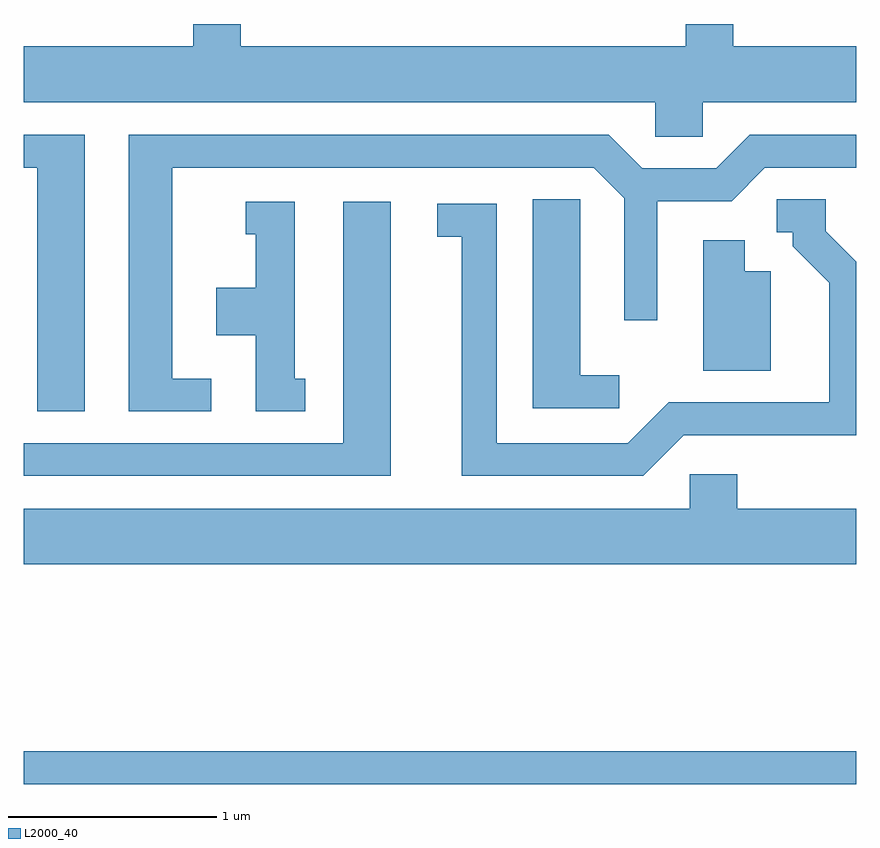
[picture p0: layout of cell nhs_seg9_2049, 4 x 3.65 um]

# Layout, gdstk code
import gdstk
lib = gdstk.Library(unit=1e-6, precision=1e-09)
def R(c, l, rs):  # rectangles x0, y0, x1, y1
    for r in rs: c.add(gdstk.rectangle(r[:2], r[2:], *l))
def P(c, l, *ps):  # polygons
    for p in ps: c.add(gdstk.Polygon(p, *l))
L2000_40 = (2000, 40)

nhs_seg9_2049 = lib.new_cell('nhs_seg9_2049')
R(nhs_seg9_2049, L2000_40, [(245.611,1970.781,249.611,1970.939)])
P(nhs_seg9_2049, L2000_40, [(248.874,1974.056),(249.611,1974.056),(249.611,1974.324),(249.019,1974.324),(249.019,1974.432),(248.791,1974.432),(248.791,1974.324),(246.654,1974.324),(246.654,1974.432),(246.426,1974.432),(246.426,1974.324),(245.611,1974.324),(245.611,1974.056),(248.646,1974.056),(248.646,1973.891),(248.874,1973.891)],
  [(246.513,1972.729),(246.324,1972.729),(246.324,1973.741),(248.349,1973.741),(248.496,1973.594),(248.496,1973.008),(248.654,1973.008),(248.654,1973.581),(249.012,1973.581),(249.172,1973.741),(249.611,1973.741),(249.611,1973.899),(249.099,1973.899),(248.939,1973.739),(248.582,1973.739),(248.422,1973.899),(246.116,1973.899),(246.116,1972.571),(246.513,1972.571)],
  [(245.904,1973.899),(245.611,1973.899),(245.611,1973.741),(245.676,1973.741),(245.676,1972.571),(245.904,1972.571)],
  [(248.473,1972.744),(248.284,1972.744),(248.284,1973.589),(248.056,1973.589),(248.056,1972.586),(248.473,1972.586)],
  [(248.782,1972.456),(249.611,1972.456),(249.611,1973.29),(249.464,1973.437),(249.464,1973.589),(249.228,1973.589),(249.228,1973.431),(249.306,1973.431),(249.306,1973.364),(249.481,1973.189),(249.481,1972.614),(248.709,1972.614),(248.514,1972.419),(247.884,1972.419),(247.884,1973.569),(247.598,1973.569),(247.598,1973.411),(247.716,1973.411),(247.716,1972.261),(248.587,1972.261)],
  [(246.963,1972.729),(246.914,1972.729),(246.914,1973.579),(246.678,1973.579),(246.678,1973.421),(246.726,1973.421),(246.726,1973.164),(246.536,1973.164),(246.536,1972.936),(246.726,1972.936),(246.726,1972.571),(246.963,1972.571)],
  [(247.374,1973.579),(247.146,1973.579),(247.146,1972.419),(245.611,1972.419),(245.611,1972.261),(247.374,1972.261)],
  [(249.199,1973.244),(249.074,1973.244),(249.074,1973.394),(248.876,1973.394),(248.876,1972.766),(249.199,1972.766)],
  [(249.611,1972.104),(249.039,1972.104),(249.039,1972.269),(248.811,1972.269),(248.811,1972.104),(245.611,1972.104),(245.611,1971.836),(249.611,1971.836)])

lib.write_gds('nhs_seg9_2049.gds')
